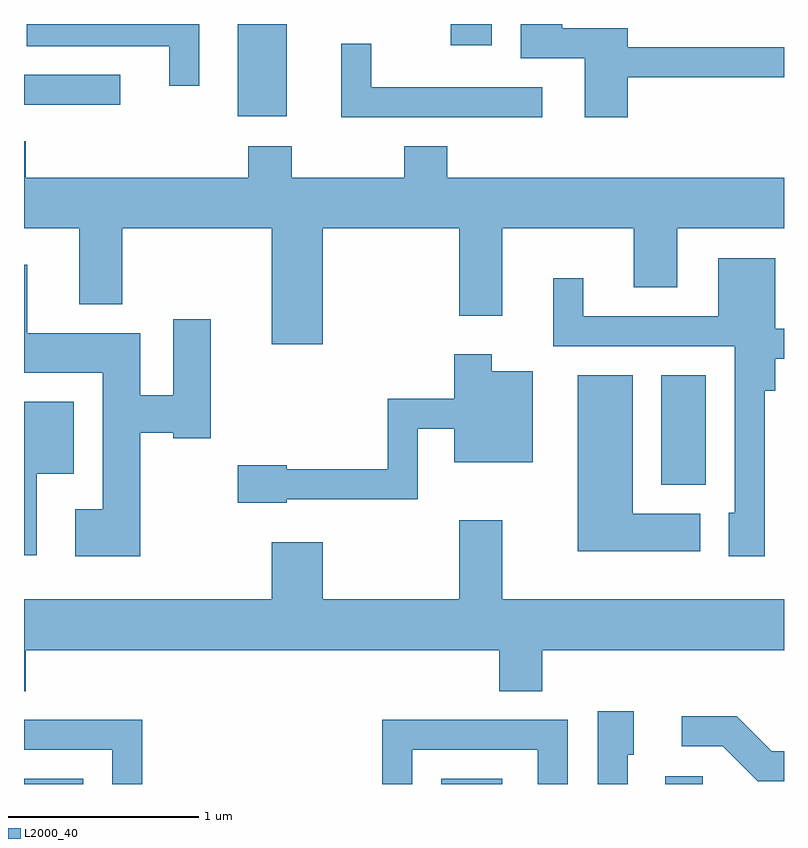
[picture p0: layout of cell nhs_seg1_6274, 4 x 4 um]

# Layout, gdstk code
import gdstk
lib = gdstk.Library(unit=1e-6, precision=1e-09)
def R(c, l, rs):  # rectangles x0, y0, x1, y1
    for r in rs: c.add(gdstk.rectangle(r[:2], r[2:], *l))
def P(c, l, *ps):  # polygons
    for p in ps: c.add(gdstk.Polygon(p, *l))
L2000_40 = (2000, 40)

nhs_seg1_6274 = lib.new_cell('nhs_seg1_6274')
R(nhs_seg1_6274, L2000_40, [(373.611,947.712,373.924,947.739), (375.806,947.712,376.129,947.739), (376.986,947.712,377.184,947.754), (376.966,949.286,377.199,949.864), (374.736,951.226,374.994,951.712), (373.611,951.286,374.118,951.444), (375.856,951.601,376.074,951.712)])
P(nhs_seg1_6274, L2000_40, [(374.534,951.712),(373.626,951.712),(373.626,951.596),(374.376,951.596),(374.376,951.388),(374.534,951.388)],
  [(376.789,951.431),(377.611,951.431),(377.611,951.589),(376.789,951.589),(376.789,951.689),(376.444,951.689),(376.444,951.712),(376.226,951.712),(376.226,951.531),(376.561,951.531),(376.561,951.221),(376.789,951.221)],
  [(376.338,951.379),(375.439,951.379),(375.439,951.608),(375.281,951.608),(375.281,951.221),(376.338,951.221)],
  [(375.184,950.636),(375.901,950.636),(375.901,950.176),(376.129,950.176),(376.129,950.636),(376.821,950.636),(376.821,950.326),(377.049,950.326),(377.049,950.636),(377.611,950.636),(377.611,950.904),(375.839,950.904),(375.839,951.069),(375.611,951.069),(375.611,950.904),(375.019,950.904),(375.019,951.069),(374.791,951.069),(374.791,950.904),(373.619,950.904),(373.619,951.094),(373.611,951.094),(373.611,950.636),(373.901,950.636),(373.901,950.236),(374.129,950.236),(374.129,950.636),(374.916,950.636),(374.916,950.026),(375.184,950.026)],
  [(377.509,949.781),(377.564,949.781),(377.564,949.951),(377.611,949.951),(377.611,950.109),(377.564,950.109),(377.564,950.479),(377.266,950.479),(377.266,950.174),(376.554,950.174),(376.554,950.373),(376.396,950.373),(376.396,950.016),(377.351,950.016),(377.351,949.139),(377.321,949.139),(377.321,948.911),(377.509,948.911)],
  [(374.224,949.561),(374.396,949.561),(374.396,949.531),(374.594,949.531),(374.594,950.159),(374.396,950.159),(374.396,949.759),(374.224,949.759),(374.224,950.084),(373.629,950.084),(373.629,950.444),(373.611,950.444),(373.611,949.876),(374.026,949.876),(374.026,949.159),(373.881,949.159),(373.881,948.911),(374.224,948.911)],
  [(374.994,949.211),(375.684,949.211),(375.684,949.581),(375.876,949.581),(375.876,949.406),(376.289,949.406),(376.289,949.884),(376.074,949.884),(376.074,949.974),(375.876,949.974),(375.876,949.739),(375.526,949.739),(375.526,949.369),(374.994,949.369),(374.994,949.389),(374.736,949.389),(374.736,949.191),(374.994,949.191)],
  [(377.169,949.134),(376.814,949.134),(376.814,949.864),(376.526,949.864),(376.526,948.936),(377.169,948.936)],
  [(373.679,949.346),(373.874,949.346),(373.874,949.724),(373.611,949.724),(373.611,948.916),(373.679,948.916)],
  [(373.619,948.416),(376.111,948.416),(376.111,948.201),(376.339,948.201),(376.339,948.416),(377.611,948.416),(377.611,948.684),(376.129,948.684),(376.129,949.099),(375.901,949.099),(375.901,948.684),(375.184,948.684),(375.184,948.984),(374.916,948.984),(374.916,948.684),(373.611,948.684),(373.611,948.201),(373.619,948.201)],
  [(376.789,947.866),(376.819,947.866),(376.819,948.094),(376.631,948.094),(376.631,947.712),(376.789,947.712)],
  [(377.611,947.884),(377.547,947.884),(377.362,948.069),(377.073,948.069),(377.073,947.911),(377.289,947.911),(377.474,947.726),(377.611,947.726)],
  [(375.654,947.891),(376.316,947.891),(376.316,947.712),(376.474,947.712),(376.474,948.049),(375.496,948.049),(375.496,947.712),(375.654,947.712)],
  [(374.234,948.049),(373.611,948.049),(373.611,947.891),(374.076,947.891),(374.076,947.712),(374.234,947.712)])

lib.write_gds('nhs_seg1_6274.gds')
